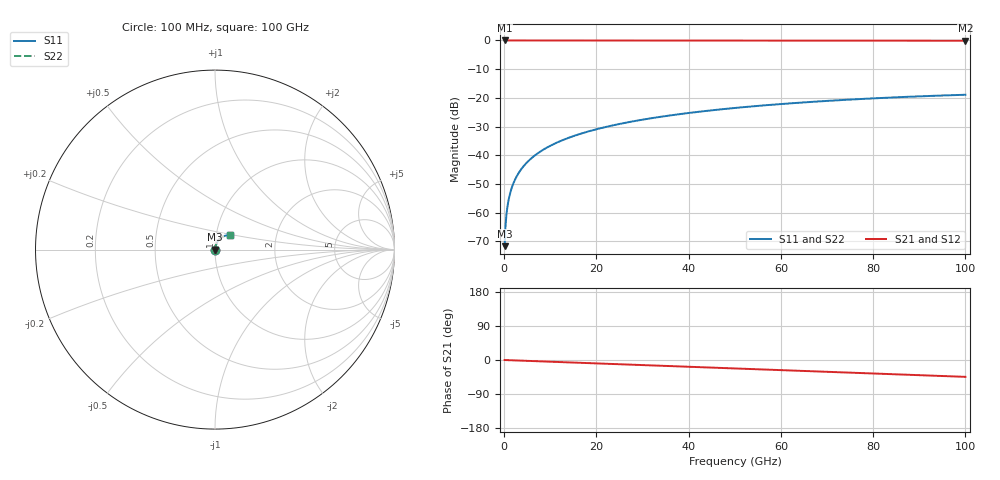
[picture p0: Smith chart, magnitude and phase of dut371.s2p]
! Touchstone file exported from HFSS 2026.1.0
!  File:  C:/ffzhzh/LocalFiles/Ansys_Project_Files/temp_train_TSV_371_1783510349_55944.aedt
!  Generated:  07:33:56 PM Jul  8, 2026
!  Design:  TSV
!  Project:  temp_train_TSV_371_1783510349_55944
! Variables:
!  h_bsmrdl = 2um
!  h_ox = 20um
!  h_rdl = 5um
!  h_sub = 89.25um
!  h_tmrdl = 5um
!  h_tsv = 89.25um
!  h_via = 3um
!  l_bsmrdl = 300um
!  l_sub = 416.82um
!  l_tmrdl = 200um
!  m_sub = 200um
!  pitch = 42.8um
!  r_tsv = 8.41um
!  s_tmrdl = 10um
!  w_bsmrdl = 18um
!  w_sub = 500um
!  w_tmrdl = 12um
!  x_tsv_center1 = 206um
!  x_tsv_center2 = 524um
!  x_tsv_center3 = 736um
!  x_tsv_center4 = 1054um
!  x_tsv_center5 = 1266um
!  x_tsv_center6 = 1584um
# GHz S MA R 50.000000
! Terminal data exported
! Port[1] = TSV1_1_T1
! Port[2] = TSV1_1_T2
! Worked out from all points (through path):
!   1000 points, 100 MHz to 100 GHz, reference 50 ohm
!   highest |S21| = 0.00 dB at 100 MHz (marker M1); lowest = -0.1 dB at 100 GHz (marker M2)
!   group delay of S21, straight-line fit = 1.23 ps
!   lowest |S11| = -71.6 dB at 100 MHz (marker M3), VSWR 1.00, Z = 50 + j0.019 ohm
!   |S11| at or under -10 dB: start of sweep to end of sweep
!   |S22| runs from -71.6 to -18.9 dB; largest |S21 - S12| = 7.2e-15
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0.1  0.0002622 46.4  0.9998 -0.0  0.9998 -0.0  0.0002622 46.4
! Gamma 0 0 0 0
! Port Impedance 50 0 50 0
0.4  0.0007657 71.9  0.9998 -0.2  0.9998 -0.2  0.0007657 71.9
0.7  0.001256 76.0  0.9997 -0.3  0.9997 -0.3  0.001256 76.0
0.8  0.001414 76.7  0.9997 -0.4  0.9997 -0.4  0.001414 76.7
1.1  0.001881 78.3  0.9996 -0.5  0.9996 -0.5  0.001881 78.3
1.4  0.002342 79.3  0.9996 -0.6  0.9996 -0.6  0.002342 79.3
1.9  0.003098 80.2  0.9995 -0.9  0.9995 -0.9  0.003098 80.2
2.4  0.003843 80.8  0.9995 -1.1  0.9995 -1.1  0.003843 80.8
3.1  0.004868 81.2  0.9994 -1.4  0.9994 -1.4  0.004868 81.2
3.9  0.006024 81.5  0.9993 -1.8  0.9993 -1.8  0.006024 81.6
4.9  0.007457 81.8  0.9992 -2.2  0.9992 -2.2  0.007457 81.8
6.1  0.009166 81.8  0.9991 -2.8  0.9991 -2.8  0.009166 81.8
8.9  0.01312 81.4  0.9989 -4.0  0.9989 -4.0  0.01312 81.4
12.4  0.01801 80.4  0.9986 -5.6  0.9986 -5.6  0.01801 80.4
16.8  0.02407 78.9  0.9982 -7.5  0.9982 -7.5  0.02407 79.0
24.2  0.0341 76.2  0.9977 -10.8  0.9977 -10.8  0.0341 76.2
33.4  0.04622 72.5  0.9969 -14.9  0.9969 -14.9  0.04622 72.6
41.2  0.05611 69.3  0.9961 -18.4  0.9961 -18.4  0.05611 69.3
50.1  0.0669 65.5  0.9952 -22.4  0.9952 -22.4  0.06689 65.6
66.7  0.0853 58.4  0.9935 -29.7  0.9935 -29.7  0.08529 58.5
83.4  0.1011 51.2  0.9916 -37.1  0.9916 -37.1  0.1011 51.3
100  0.1134 44.0  0.9899 -44.5  0.9899 -44.5  0.1134 44.1
